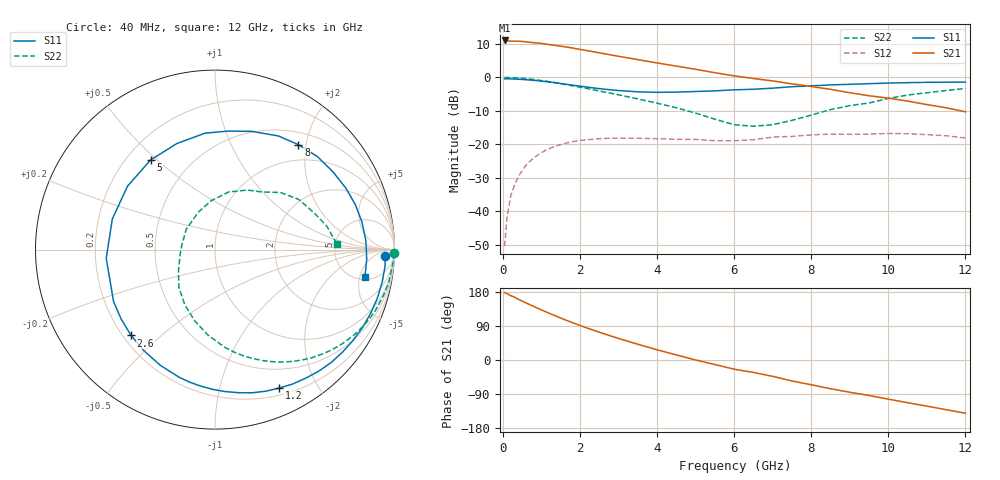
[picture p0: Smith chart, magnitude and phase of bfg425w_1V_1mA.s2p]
! Filename: 11bfg425.001
! BFG425W Field C1
! V1=7.910E-001V,V2=1.000E+000V, I1=1.367E-005A, I2=1.000E-003A
# GHz  S  MA  R 50
!  S11  S21  S12  S22
!Freq(GHz)  Mag  Ang  Mag  Ang  Mag  Ang  Mag  Ang
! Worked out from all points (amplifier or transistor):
!   44 points, 40 MHz to 12 GHz, reference 50 ohm
!   highest |S21| = 11.0 dB at 40 MHz (marker M1)
!   |S21| within 3 dB of that: start of sweep to 2.157 GHz
!   unconditionally stable (mu >= 1): 3.416 GHz to end of sweep
!   at 700 MHz: K = 0.13, MSG = 17.8 dB, |S12| = -25.0 dB
!   at 2.4 GHz: K = 0.58, MSG = 13.0 dB, |S12| = -18.4 dB
!   at 12 GHz: K = 2.18, MAG = -2.2 dB, |S12| = -18.1 dB
!   S11 on the Smith chart (normalised r, x): 40 MHz: 26, -17; 1.2 GHz: 0.27, -1.53; 2.6 GHz: 0.23, -0.40; 5 GHz: 0.30, +0.48; 8 GHz: 0.70, +1.86; 12 GHz: 5.45, -6.04
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0.04  0.948 -2.0  3.56 177.8  0.003 83.3  0.996 -1.2
0.1  0.952 -5.5  3.502 175.1  0.008 87.1  0.996 -3.4
0.2  0.949 -11.1  3.478 169.9  0.017 81.9  0.988 -7.2
0.3  0.944 -16.7  3.471 165.7  0.025 77.9  0.985 -10.6
0.5  0.93 -27.6  3.44 155.3  0.041 69.9  0.965 -17.5
0.7  0.912 -38.6  3.339 145.7  0.056 62.0  0.942 -24.4
1  0.877 -54.7  3.206 132.0  0.075 51.0  0.895 -34.0
1.2  0.85 -65.2  3.092 123.2  0.086 44.1  0.861 -40.0
1.7  0.779 -90.9  2.808 102.6  0.106 28.4  0.768 -53.9
2.2  0.713 -115.3  2.495 83.7  0.117 15.0  0.677 -66.2
2.6  0.669 -134.3  2.269 69.9  0.122 5.9  0.61 -75.4
3  0.635 -152.9  2.063 56.8  0.124 -2.0  0.548 -84.2
3.5  0.608 -175.4  1.84 41.5  0.123 -10.3  0.476 -95.0
4  0.597 163.4  1.642 26.9  0.121 -17.3  0.411 -106.2
4.5  0.602 144.0  1.472 13.4  0.119 -22.7  0.351 -118.6
5  0.615 125.7  1.319 0.0  0.118 -28.5  0.292 -133.5
6  0.651 94.9  1.052 -24.3  0.113 -37.1  0.196 -172.4
6.5  0.664 83.9  0.962 -32.8  0.117 -32.1  0.186 170.5
8  0.747 51.5  0.73 -65.4  0.138 -50.6  0.273 94.5
8.5  0.771 42.2  0.662 -75.8  0.142 -58.3  0.33 76.7
10.5  0.833 10.7  0.442 -112.7  0.144 -89.0  0.544 30.9
12  0.849 -10.5  0.306 -140.4  0.124 -118.7  0.681 2.4
